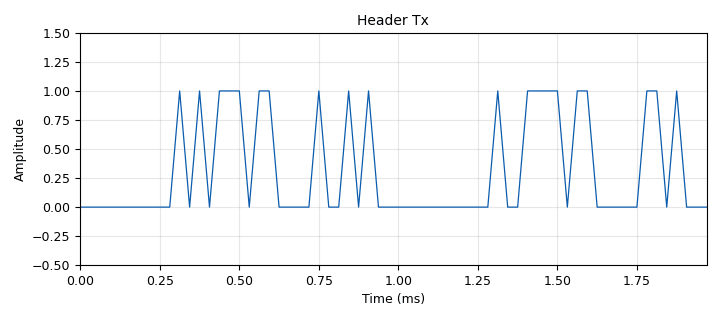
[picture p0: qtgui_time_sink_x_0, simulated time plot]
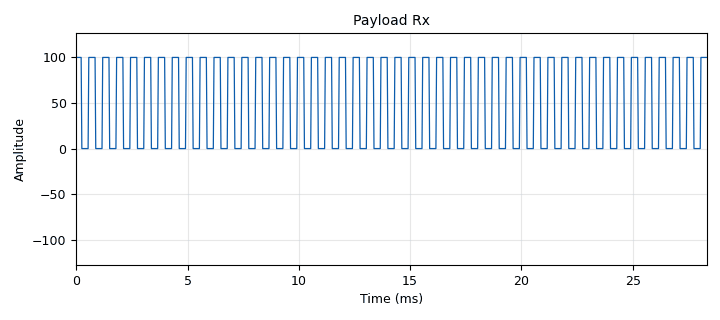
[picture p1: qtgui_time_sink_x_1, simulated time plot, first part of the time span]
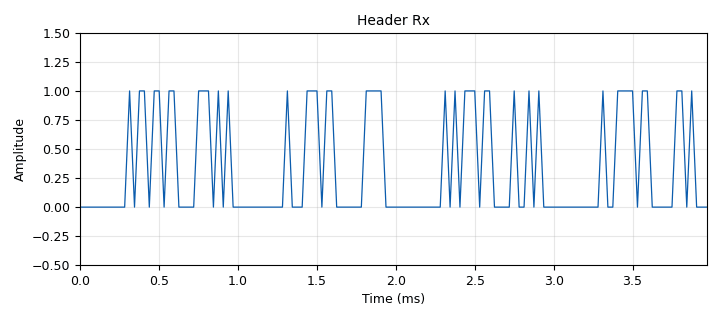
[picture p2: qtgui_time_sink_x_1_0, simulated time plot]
options:
  parameters:
    author: Juan Jose
    generate_options: qt_gui
    id: prueba_packet_header
    output_language: python
    title: Prueba Packet Header
  states: {}

blocks:
- name: samp_rate
  id: variable
  parameters:
    value: '32000'
  states: {}
- name: blocks_char_to_float_0
  id: blocks_char_to_float
  parameters:
    scale: '1'
  states: {}
- name: blocks_char_to_float_0_0
  id: blocks_char_to_float
  parameters:
    scale: '1'
  states: {}
- name: blocks_char_to_float_0_0_0
  id: blocks_char_to_float
  parameters:
    scale: '1'
  states: {}
- name: blocks_message_debug_0
  id: blocks_message_debug
  parameters: {}
  states: {state: disabled}
- name: blocks_null_sink_0
  id: blocks_null_sink
  parameters:
    type: byte
  states: {}
- name: blocks_repack_bits_bb_0_0
  id: blocks_repack_bits_bb
  parameters:
    endianness: gr.GR_LSB_FIRST
    k: '1'
    l: '8'
  states: {}
- name: blocks_repack_bits_bb_0_0_0
  id: blocks_repack_bits_bb
  parameters:
    endianness: gr.GR_LSB_FIRST
    k: '8'
    l: '1'
  states: {}
- name: blocks_repack_bits_bb_0_0_0_0
  id: blocks_repack_bits_bb
  parameters:
    endianness: gr.GR_LSB_FIRST
    k: '8'
    l: '1'
  states: {state: disabled}
- name: blocks_repack_bits_bb_0_0_1
  id: blocks_repack_bits_bb
  parameters:
    endianness: gr.GR_LSB_FIRST
    k: '2'
    l: '8'
  states: {state: disabled}
- name: blocks_repack_bits_bb_0_0_2
  id: blocks_repack_bits_bb
  parameters:
    endianness: gr.GR_LSB_FIRST
    k: '2'
    l: '1'
  states: {}
- name: blocks_repack_bits_bb_1_0
  id: blocks_repack_bits_bb
  parameters:
    endianness: gr.GR_LSB_FIRST
    k: '1'
    l: '2'
    len_tag_key: '"packet_len"'
  states: {}
- name: blocks_repack_bits_bb_1_0_0
  id: blocks_repack_bits_bb
  parameters:
    endianness: gr.GR_LSB_FIRST
    k: '8'
    l: '2'
    len_tag_key: '"packet_len"'
  states: {}
- name: blocks_stream_to_tagged_stream_0
  id: blocks_stream_to_tagged_stream
  parameters:
    comment: segmenta en paquetes etiquetados.
    len_tag_key: '"packet_len"'
    packet_len: '1024'
    type: byte
  states: {}
- name: blocks_stream_to_tagged_stream_1
  id: blocks_stream_to_tagged_stream
  parameters:
    len_tag_key: '"inicio"'
    packet_len: 1024+4
    type: byte
  states: {}
- name: blocks_tag_gate_0
  id: blocks_tag_gate
  parameters:
    propagate_tags: 'False'
    type: byte
  states: {}
- name: blocks_tag_gate_0_0
  id: blocks_tag_gate
  parameters:
    propagate_tags: 'False'
    type: byte
  states: {state: disabled}
- name: blocks_tagged_stream_mux_0
  id: blocks_tagged_stream_mux
  parameters:
    lengthtagname: '"packet_len"'
    ninputs: '2'
    type: byte
  states: {}
- name: blocks_throttle2_0
  id: blocks_throttle2
  parameters:
    samples_per_second: samp_rate
    type: byte
  states: {}
- name: blocks_vector_source_x_0
  id: blocks_vector_source_x
  parameters:
    repeat: 'True'
    type: byte
    vector: '[0]*10+[100]*10'
  states: {}
- name: digital_diff_decoder_bb_0
  id: digital_diff_decoder_bb
  parameters:
    coding: digital.DIFF_DIFFERENTIAL
    modulus: '4'
  states: {}
- name: digital_diff_decoder_bb_0_0
  id: digital_diff_decoder_bb
  parameters:
    coding: digital.DIFF_DIFFERENTIAL
    modulus: '4'
  states: {state: disabled}
- name: digital_diff_encoder_bb_0
  id: digital_diff_encoder_bb
  parameters:
    coding: digital.DIFF_DIFFERENTIAL
    modulus: '4'
  states: {}
- name: digital_diff_encoder_bb_0_0
  id: digital_diff_encoder_bb
  parameters:
    coding: digital.DIFF_DIFFERENTIAL
    modulus: '4'
  states: {state: disabled}
- name: digital_header_payload_demux_0
  id: digital_header_payload_demux
  parameters:
    header_len: 32//8
    header_padding: '0'
    items_per_symbol: '1'
    length_tag_key: '"packet_len"'
    output_symbols: 'False'
    samp_rate: samp_rate
    special_tags: '[]'
    timing_tag_key: '"rx_time"'
    trigger_tag_key: '"inicio"'
    type: byte
  states: {}
- name: digital_packet_headergenerator_bb_default_0
  id: digital_packet_headergenerator_bb_default
  parameters:
    header_len: '32'
    len_tag_key: '"packet_len"'
  states: {}
- name: digital_packet_headerparser_b_default_1_0
  id: digital_packet_headerparser_b_default
  parameters:
    header_len: '32'
    len_tag_key: '"packet_len"'
  states: {}
- name: digital_packet_headerparser_b_default_1_0_0
  id: digital_packet_headerparser_b_default
  parameters:
    header_len: '64'
    len_tag_key: '"packet_len"'
  states: {state: disabled}
- name: qtgui_time_sink_x_0
  id: qtgui_time_sink_x
  parameters:
    gui_hint: 0,0,1,1
    name: '"Header Tx"'
    size: '64'
    srate: samp_rate
    type: float
    ymax: '1.5'
    ymin: '-0.5'
  states: {}
- name: qtgui_time_sink_x_1
  id: qtgui_time_sink_x
  parameters:
    gui_hint: 3,0,1,1
    name: '"Payload Rx"'
    size: '2048'
    srate: samp_rate
    type: float
    ymax: '127'
    ymin: '-128'
  states: {}
- name: qtgui_time_sink_x_1_0
  id: qtgui_time_sink_x
  parameters:
    gui_hint: 2,0,1,1
    name: '"Header Rx"'
    size: '128'
    srate: samp_rate
    tr_mode: qtgui.TRIG_MODE_TAG
    tr_tag: '"rx_time"'
    type: float
    ymax: '1.5'
    ymin: '-0.5'
  states: {}

connections:
- [blocks_char_to_float_0, '0', qtgui_time_sink_x_0, '0']
- [blocks_char_to_float_0_0, '0', qtgui_time_sink_x_1, '0']
- [blocks_char_to_float_0_0_0, '0', qtgui_time_sink_x_1_0, '0']
- [blocks_repack_bits_bb_0_0, '0', blocks_stream_to_tagged_stream_1, '0']
- [blocks_repack_bits_bb_0_0_0, '0', blocks_char_to_float_0_0_0, '0']
- [blocks_repack_bits_bb_0_0_0, '0', digital_packet_headerparser_b_default_1_0, '0']
- [blocks_repack_bits_bb_0_0_0_0, '0', digital_packet_headerparser_b_default_1_0_0, '0']
- [blocks_repack_bits_bb_0_0_1, '0', blocks_repack_bits_bb_0_0_0_0, '0']
- [blocks_repack_bits_bb_0_0_2, '0', blocks_repack_bits_bb_0_0, '0']
- [blocks_repack_bits_bb_1_0, '0', blocks_tagged_stream_mux_0, '0']
- [blocks_repack_bits_bb_1_0, '0', digital_diff_encoder_bb_0_0, '0']
- [blocks_repack_bits_bb_1_0_0, '0', blocks_tagged_stream_mux_0, '1']
- [blocks_stream_to_tagged_stream_0, '0', blocks_repack_bits_bb_1_0_0, '0']
- [blocks_stream_to_tagged_stream_0, '0', digital_packet_headergenerator_bb_default_0, '0']
- [blocks_stream_to_tagged_stream_1, '0', digital_header_payload_demux_0, '0']
- [blocks_tag_gate_0, '0', blocks_repack_bits_bb_0_0_2, '0']
- [blocks_tag_gate_0_0, '0', blocks_repack_bits_bb_0_0_1, '0']
- [blocks_tagged_stream_mux_0, '0', blocks_null_sink_0, '0']
- [blocks_tagged_stream_mux_0, '0', digital_diff_encoder_bb_0, '0']
- [blocks_throttle2_0, '0', blocks_stream_to_tagged_stream_0, '0']
- [blocks_vector_source_x_0, '0', blocks_throttle2_0, '0']
- [digital_diff_decoder_bb_0, '0', blocks_tag_gate_0, '0']
- [digital_diff_decoder_bb_0_0, '0', blocks_tag_gate_0_0, '0']
- [digital_diff_encoder_bb_0, '0', digital_diff_decoder_bb_0, '0']
- [digital_diff_encoder_bb_0_0, '0', digital_diff_decoder_bb_0_0, '0']
- [digital_header_payload_demux_0, '0', blocks_repack_bits_bb_0_0_0, '0']
- [digital_header_payload_demux_0, '1', blocks_char_to_float_0_0, '0']
- [digital_packet_headergenerator_bb_default_0, '0', blocks_char_to_float_0, '0']
- [digital_packet_headergenerator_bb_default_0, '0', blocks_repack_bits_bb_1_0, '0']
- [digital_packet_headerparser_b_default_1_0, header_data, digital_header_payload_demux_0, header_data]
- [digital_packet_headerparser_b_default_1_0_0, header_data, blocks_message_debug_0, print]

metadata:
  file_format: 1
  grc_version: 3.10.12.0
